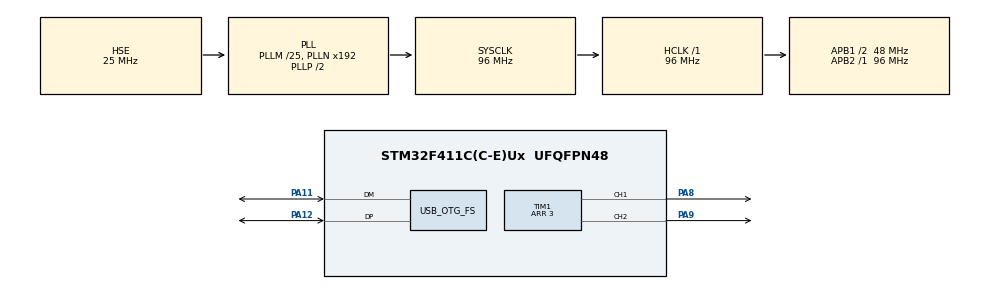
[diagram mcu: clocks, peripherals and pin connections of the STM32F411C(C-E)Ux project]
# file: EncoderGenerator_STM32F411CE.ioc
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FREERTOS.Tasks01=defaultTask,24,512,StartDefaultTask,Default,NULL,Dynamic,NULL,NULL
FREERTOS.configUSE_NEWLIB_REENTRANT=1
Mcu.Family=STM32F4
Mcu.Name=STM32F411C(C-E)Ux
Mcu.Package=UFQFPN48
NVIC.OTG_FS_IRQn=true\:5\:0\:false\:false\:true\:true\:false\:true\:true
NVIC.PriorityGroup=NVIC_PRIORITYGROUP_4
NVIC.TIM1_TRG_COM_TIM11_IRQn=true\:15\:0\:false\:false\:true\:false\:false\:true\:true
NVIC.TimeBase=TIM1_TRG_COM_TIM11_IRQn
NVIC.TimeBaseIP=TIM11
PA11.Mode=Device_Only
PA11.Signal=USB_OTG_FS_DM
PA12.Mode=Device_Only
PA12.Signal=USB_OTG_FS_DP
PA13.Mode=Serial_Wire
PA13.Signal=SYS_JTMS-SWDIO
PA14.Mode=Serial_Wire
PA14.Signal=SYS_JTCK-SWCLK
PA8.GPIO_Speed=GPIO_SPEED_FREQ_VERY_HIGH
PA8.Signal=S_TIM1_CH1
PA9.GPIO_Speed=GPIO_SPEED_FREQ_VERY_HIGH
PA9.Signal=S_TIM1_CH2
PH0\ -\ OSC_IN.Mode=HSE-External-Oscillator
PH0\ -\ OSC_IN.Signal=RCC_OSC_IN
PH1\ -\ OSC_OUT.Mode=HSE-External-Oscillator
PH1\ -\ OSC_OUT.Signal=RCC_OSC_OUT
ProjectManager.HeapSize=0x200
ProjectManager.StackSize=0x400
ProjectManager.TargetToolchain=STM32CubeIDE
RCC.48MHZClocksFreq_Value=48000000
RCC.AHBFreq_Value=96000000
RCC.APB1CLKDivider=RCC_HCLK_DIV2
RCC.APB1Freq_Value=48000000
RCC.APB1TimFreq_Value=96000000
RCC.APB2Freq_Value=96000000
RCC.APB2TimFreq_Value=96000000
RCC.CortexFreq_Value=96000000
RCC.HCLKFreq_Value=96000000
RCC.HSE_VALUE=25000000
RCC.HSI_VALUE=16000000
RCC.LSE_VALUE=32768
RCC.PLLM=25
RCC.RCC_TIM_PRescaler_Selection=RCC_TIMPRES_DESACTIVATED
RCC.SYSCLKFreq_VALUE=96000000
RCC.SYSCLKSource=RCC_SYSCLKSOURCE_PLLCLK
RCC.VCOOutputFreq_Value=192000000
SH.S_TIM1_CH1.0=TIM1_CH1,Output Compare1 CH1
SH.S_TIM1_CH2.0=TIM1_CH2,Output Compare2 CH2
TIM1.Channel-Output\ Compare1\ CH1=TIM_CHANNEL_1
TIM1.Channel-Output\ Compare2\ CH2=TIM_CHANNEL_2
TIM1.OCMode_1=TIM_OCMODE_TOGGLE
TIM1.OCMode_2=TIM_OCMODE_TOGGLE
TIM1.Period=3
TIM1.Pulse-Output\ Compare1\ CH1=1
TIM1.Pulse-Output\ Compare2\ CH2=3
TIM2.Prescaler=1
TIM2.TIM_MasterOutputTrigger=TIM_TRGO_ENABLE
TIM3.Period=1
TIM3.TIM_MasterOutputTrigger=TIM_TRGO_UPDATE
TIM5.TIM_MasterOutputTrigger=TIM_TRGO_UPDATE
USB_DEVICE.CLASS_NAME_FS=CDC
USB_DEVICE.VirtualMode=Cdc
USB_DEVICE.VirtualModeFS=Cdc_FS
USB_OTG_FS.VirtualMode=Device_Only
VP_FREERTOS_VS_CMSIS_V2.Mode=CMSIS_V2
VP_SYS_VS_tim11.Mode=TIM11
VP_TIM1_VS_ClockSourceITR.Mode=TriggerSource_ITR2
VP_TIM1_VS_ControllerModeClock.Mode=Clock Mode
VP_TIM2_VS_ClockSourceITR.Mode=TriggerSource_ITR2
VP_TIM2_VS_ControllerModeClock.Mode=Clock Mode
VP_TIM2_VS_OPM.Mode=OPM_bit
VP_TIM3_VS_ClockSourceITR.Mode=TriggerSource_ITR2
VP_TIM3_VS_ControllerModeClock.Mode=Clock Mode
VP_TIM5_VS_ClockSourceINT.Mode=Internal
VP_TIM5_VS_ClockSourceITR.Mode=TriggerSource_ITR0
VP_TIM5_VS_ControllerModeGated.Mode=Gated Mode
VP_USB_DEVICE_VS_USB_DEVICE_CDC_FS.Mode=CDC_FS
board=custom

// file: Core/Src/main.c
/* USER CODE BEGIN Header */
/**
  ******************************************************************************
  * @file           : main.c
  * @brief          : Main program body
  ******************************************************************************
  * @attention
  *
  * Copyright (c) 2023 STMicroelectronics.
  * All rights reserved.
  *
  * This software is licensed under terms that can be found in the LICENSE file
  * in the root directory of this software component.
  * If no LICENSE file comes with this software, it is provided AS-IS.
  *
  ******************************************************************************
  */
/* USER CODE END Header */
#include "main.h"
#include "cmsis_os.h"
#include "usb_device.h"

/* USER CODE BEGIN Includes */

#include "usbd_cdc_if.h"
#include <stdio.h>

/* USER CODE END Includes */

/* Definitions for defaultTask */
osThreadId_t defaultTaskHandle;
const osThreadAttr_t defaultTask_attributes = {
  .name = "defaultTask",
  .stack_size = 512 * 4,
  .priority = (osPriority_t) osPriorityNormal,
};

void SystemClock_Config(void);
static void MX_GPIO_Init(void);
static void MX_TIM1_Init(void);
static void MX_TIM2_Init(void);
static void MX_TIM3_Init(void);
static void MX_TIM5_Init(void);
void StartDefaultTask(void *argument);

/* USER CODE BEGIN 0 */

#define FD_STDIN 0
#define FD_STDOUT 1
#define FD_STDERR 2
#define FD_USB 3

extern int __io_putchar(int ch) __attribute__((weak));
extern int __io_getchar(void) __attribute__((weak));

int __io_putchar(int ch) {
	// Write character to ITM ch.0
	ITM_SendChar(ch);
	return(ch);
}

int _write(int file, char *ptr, int len) {
	switch (file) {
	case FD_STDERR:
	case FD_STDOUT:
	case FD_USB: {
		for (uint8_t rc = USBD_BUSY; rc != USBD_OK; osThreadYield()) {
			rc = CDC_Transmit_FS((uint8_t*)ptr, len);
			if (rc == USBD_FAIL) {
//				Error_Handler();
				return -2;
			}
		}
	} break;
	default:
		return -1;
	}
    return len;
}

int _read(int file, char *ptr, int len) {
	int DataIdx = 0;
	switch (file) {
	case FD_STDIN:
	case FD_USB: {
		for (; DataIdx < len; DataIdx++) {
			int c;
			while ((c = CDC_read_byte()) < 0) {
				if (!DataIdx)
					osThreadYield();
				else
					return DataIdx;
			}
			*ptr++ = c;
		}
	} break;
	default:
		return -1;
	}

	return DataIdx;
}

int _open(char *path, int flags, ...) {
	if (strcmp(path, "USB") == 0) {
		return FD_USB;
	}
	return -1;
}

/* USER CODE END 0 */

int main(void)
{

  /* MCU Configuration--------------------------------------------------------*/

  /* Reset of all peripherals, Initializes the Flash interface and the Systick. */
  HAL_Init();

  /* Configure the system clock */
  SystemClock_Config();

  /* Initialize all configured peripherals */
  MX_GPIO_Init();
  MX_TIM1_Init();
  MX_TIM2_Init();
  MX_TIM3_Init();
  MX_TIM5_Init();

  /* Init scheduler */
  osKernelInitialize();

  /* Create the thread(s) */
  /* creation of defaultTask */
  defaultTaskHandle = osThreadNew(StartDefaultTask, NULL, &defaultTask_attributes);

  /* Start scheduler */
  osKernelStart();

  /* We should never get here as control is now taken by the scheduler */
  /* Infinite loop */
  while (1)
  {

  }
}

void SystemClock_Config(void)
{
  RCC_OscInitTypeDef RCC_OscInitStruct = {0};
  RCC_ClkInitTypeDef RCC_ClkInitStruct = {0};

  /** Configure the main internal regulator output voltage
  */
  __HAL_RCC_PWR_CLK_ENABLE();
  __HAL_PWR_VOLTAGESCALING_CONFIG(PWR_REGULATOR_VOLTAGE_SCALE1);

  /** Initializes the RCC Oscillators according to the specified parameters
  * in the RCC_OscInitTypeDef structure.
  */
  RCC_OscInitStruct.OscillatorType = RCC_OSCILLATORTYPE_HSE;
  RCC_OscInitStruct.HSEState = RCC_HSE_ON;
  RCC_OscInitStruct.PLL.PLLState = RCC_PLL_ON;
  RCC_OscInitStruct.PLL.PLLSource = RCC_PLLSOURCE_HSE;
  RCC_OscInitStruct.PLL.PLLM = 25;
  RCC_OscInitStruct.PLL.PLLN = 192;
  RCC_OscInitStruct.PLL.PLLP = RCC_PLLP_DIV2;
  RCC_OscInitStruct.PLL.PLLQ = 4;
  if (HAL_RCC_OscConfig(&RCC_OscInitStruct) != HAL_OK)
  {
    Error_Handler();
  }

  /** Initializes the CPU, AHB and APB buses clocks
  */
  RCC_ClkInitStruct.ClockType = RCC_CLOCKTYPE_HCLK|RCC_CLOCKTYPE_SYSCLK
                              |RCC_CLOCKTYPE_PCLK1|RCC_CLOCKTYPE_PCLK2;
  RCC_ClkInitStruct.SYSCLKSource = RCC_SYSCLKSOURCE_PLLCLK;
  RCC_ClkInitStruct.AHBCLKDivider = RCC_SYSCLK_DIV1;
  RCC_ClkInitStruct.APB1CLKDivider = RCC_HCLK_DIV2;
  RCC_ClkInitStruct.APB2CLKDivider = RCC_HCLK_DIV1;

  if (HAL_RCC_ClockConfig(&RCC_ClkInitStruct, FLASH_LATENCY_3) != HAL_OK)
  {
    Error_Handler();
  }
}

static void MX_TIM1_Init(void)
{

  LL_TIM_InitTypeDef TIM_InitStruct = {0};
  LL_TIM_OC_InitTypeDef TIM_OC_InitStruct = {0};
  LL_TIM_BDTR_InitTypeDef TIM_BDTRInitStruct = {0};

  LL_GPIO_InitTypeDef GPIO_InitStruct = {0};

  /* Peripheral clock enable */
  LL_APB2_GRP1_EnableClock(LL_APB2_GRP1_PERIPH_TIM1);

  /* TIM1 interrupt Init */
  NVIC_SetPriority(TIM1_TRG_COM_TIM11_IRQn, NVIC_EncodePriority(NVIC_GetPriorityGrouping(),15, 0));
  NVIC_EnableIRQ(TIM1_TRG_COM_TIM11_IRQn);

  TIM_InitStruct.Prescaler = 0;
  TIM_InitStruct.CounterMode = LL_TIM_COUNTERMODE_UP;
  TIM_InitStruct.Autoreload = 3;
  TIM_InitStruct.ClockDivision = LL_TIM_CLOCKDIVISION_DIV1;
  TIM_InitStruct.RepetitionCounter = 0;
  LL_TIM_Init(TIM1, &TIM_InitStruct);
  LL_TIM_DisableARRPreload(TIM1);
  TIM_OC_InitStruct.OCMode = LL_TIM_OCMODE_TOGGLE;
  TIM_OC_InitStruct.OCState = LL_TIM_OCSTATE_DISABLE;
  TIM_OC_InitStruct.OCNState = LL_TIM_OCSTATE_DISABLE;
  TIM_OC_InitStruct.CompareValue = 1;
  TIM_OC_InitStruct.OCPolarity = LL_TIM_OCPOLARITY_HIGH;
  TIM_OC_InitStruct.OCNPolarity = LL_TIM_OCPOLARITY_HIGH;
  TIM_OC_InitStruct.OCIdleState = LL_TIM_OCIDLESTATE_LOW;
  TIM_OC_InitStruct.OCNIdleState = LL_TIM_OCIDLESTATE_LOW;
  LL_TIM_OC_Init(TIM1, LL_TIM_CHANNEL_CH1, &TIM_OC_InitStruct);
  LL_TIM_OC_DisableFast(TIM1, LL_TIM_CHANNEL_CH1);
  TIM_OC_InitStruct.CompareValue = 3;
  LL_TIM_OC_Init(TIM1, LL_TIM_CHANNEL_CH2, &TIM_OC_InitStruct);
  LL_TIM_OC_DisableFast(TIM1, LL_TIM_CHANNEL_CH2);
  LL_TIM_SetTriggerInput(TIM1, LL_TIM_TS_ITR2);
  LL_TIM_SetClockSource(TIM1, LL_TIM_CLOCKSOURCE_EXT_MODE1);
  LL_TIM_DisableIT_TRIG(TIM1);
  LL_TIM_DisableDMAReq_TRIG(TIM1);
  LL_TIM_SetTriggerOutput(TIM1, LL_TIM_TRGO_RESET);
  LL_TIM_DisableMasterSlaveMode(TIM1);
  TIM_BDTRInitStruct.OSSRState = LL_TIM_OSSR_DISABLE;
  TIM_BDTRInitStruct.OSSIState = LL_TIM_OSSI_DISABLE;
  TIM_BDTRInitStruct.LockLevel = LL_TIM_LOCKLEVEL_OFF;
  TIM_BDTRInitStruct.DeadTime = 0;
  TIM_BDTRInitStruct.BreakState = LL_TIM_BREAK_DISABLE;
  TIM_BDTRInitStruct.BreakPolarity = LL_TIM_BREAK_POLARITY_HIGH;
  TIM_BDTRInitStruct.AutomaticOutput = LL_TIM_AUTOMATICOUTPUT_DISABLE;
  LL_TIM_BDTR_Init(TIM1, &TIM_BDTRInitStruct);
  LL_AHB1_GRP1_EnableClock(LL_AHB1_GRP1_PERIPH_GPIOA);
  /**TIM1 GPIO Configuration
  PA8   ------> TIM1_CH1
  PA9   ------> TIM1_CH2
  */
  GPIO_InitStruct.Pin = LL_GPIO_PIN_8|LL_GPIO_PIN_9;
  GPIO_InitStruct.Mode = LL_GPIO_MODE_ALTERNATE;
  GPIO_InitStruct.Speed = LL_GPIO_SPEED_FREQ_VERY_HIGH;
  GPIO_InitStruct.OutputType = LL_GPIO_OUTPUT_PUSHPULL;
  GPIO_InitStruct.Pull = LL_GPIO_PULL_NO;
  GPIO_InitStruct.Alternate = LL_GPIO_AF_1;
  LL_GPIO_Init(GPIOA, &GPIO_InitStruct);

}

static void MX_TIM2_Init(void)
{

  LL_TIM_InitTypeDef TIM_InitStruct = {0};

  /* Peripheral clock enable */
  LL_APB1_GRP1_EnableClock(LL_APB1_GRP1_PERIPH_TIM2);

  TIM_InitStruct.Prescaler = 1;
  TIM_InitStruct.CounterMode = LL_TIM_COUNTERMODE_UP;
  TIM_InitStruct.Autoreload = 4294967295;
  TIM_InitStruct.ClockDivision = LL_TIM_CLOCKDIVISION_DIV1;
  LL_TIM_Init(TIM2, &TIM_InitStruct);
  LL_TIM_DisableARRPreload(TIM2);
  LL_TIM_SetOnePulseMode(TIM2, LL_TIM_ONEPULSEMODE_SINGLE);
  LL_TIM_SetTriggerInput(TIM2, LL_TIM_TS_ITR2);
  LL_TIM_SetClockSource(TIM2, LL_TIM_CLOCKSOURCE_EXT_MODE1);
  LL_TIM_DisableIT_TRIG(TIM2);
  LL_TIM_DisableDMAReq_TRIG(TIM2);
  LL_TIM_SetTriggerOutput(TIM2, LL_TIM_TRGO_ENABLE);
  LL_TIM_DisableMasterSlaveMode(TIM2);

}

static void MX_TIM3_Init(void)
{

  LL_TIM_InitTypeDef TIM_InitStruct = {0};

  /* Peripheral clock enable */
  LL_APB1_GRP1_EnableClock(LL_APB1_GRP1_PERIPH_TIM3);

  TIM_InitStruct.Prescaler = 0;
  TIM_InitStruct.CounterMode = LL_TIM_COUNTERMODE_UP;
  TIM_InitStruct.Autoreload = 1;
  TIM_InitStruct.ClockDivision = LL_TIM_CLOCKDIVISION_DIV1;
  LL_TIM_Init(TIM3, &TIM_InitStruct);
  LL_TIM_DisableARRPreload(TIM3);
  LL_TIM_SetTriggerInput(TIM3, LL_TIM_TS_ITR2);
  LL_TIM_SetClockSource(TIM3, LL_TIM_CLOCKSOURCE_EXT_MODE1);
  LL_TIM_DisableIT_TRIG(TIM3);
  LL_TIM_DisableDMAReq_TRIG(TIM3);
  LL_TIM_SetTriggerOutput(TIM3, LL_TIM_TRGO_UPDATE);
  LL_TIM_DisableMasterSlaveMode(TIM3);

}

static void MX_TIM5_Init(void)
{

  LL_TIM_InitTypeDef TIM_InitStruct = {0};

  /* Peripheral clock enable */
  LL_APB1_GRP1_EnableClock(LL_APB1_GRP1_PERIPH_TIM5);

  TIM_InitStruct.Prescaler = 0;
  TIM_InitStruct.CounterMode = LL_TIM_COUNTERMODE_UP;
  TIM_InitStruct.Autoreload = 4294967295;
  TIM_InitStruct.ClockDivision = LL_TIM_CLOCKDIVISION_DIV1;
  LL_TIM_Init(TIM5, &TIM_InitStruct);
  LL_TIM_DisableARRPreload(TIM5);
  LL_TIM_SetClockSource(TIM5, LL_TIM_CLOCKSOURCE_INTERNAL);
  LL_TIM_SetTriggerInput(TIM5, LL_TIM_TS_ITR0);
  LL_TIM_SetSlaveMode(TIM5, LL_TIM_SLAVEMODE_GATED);
  LL_TIM_DisableIT_TRIG(TIM5);
  LL_TIM_DisableDMAReq_TRIG(TIM5);
  LL_TIM_SetTriggerOutput(TIM5, LL_TIM_TRGO_UPDATE);
  LL_TIM_DisableMasterSlaveMode(TIM5);

}

static void MX_GPIO_Init(void)
{

  /* GPIO Ports Clock Enable */
  __HAL_RCC_GPIOH_CLK_ENABLE();
  __HAL_RCC_GPIOA_CLK_ENABLE();

}

/* USER CODE BEGIN 4 */

void encoder_out(uint32_t outFreq, uint32_t outTicks, uint8_t direction) {
	uint32_t timerFreq = HAL_RCC_GetHCLKFreq() / 4;
	LL_TIM_SetAutoReload(TIM5, __LL_TIM_CALC_PSC(timerFreq, outFreq));
	LL_TIM_GenerateEvent_UPDATE(TIM5);

	LL_TIM_GenerateEvent_UPDATE(TIM3);

	LL_TIM_SetAutoReload(TIM2, outTicks - 1);
	LL_TIM_GenerateEvent_UPDATE(TIM2);

	LL_TIM_EnableAllOutputs(TIM1);
	LL_TIM_CC_EnableChannel(TIM1, LL_TIM_CHANNEL_CH1 | LL_TIM_CHANNEL_CH2);
	LL_TIM_SetCounterMode(TIM1, direction ? LL_TIM_COUNTERMODE_DOWN : LL_TIM_COUNTERMODE_UP);

	LL_TIM_EnableCounter(TIM1);
	LL_TIM_EnableCounter(TIM2);
	LL_TIM_EnableCounter(TIM3);
	LL_TIM_EnableCounter(TIM5);

	while (LL_TIM_IsEnabledCounter(TIM2));

	LL_TIM_DisableCounter(TIM5);
	LL_TIM_DisableCounter(TIM3);
	LL_TIM_DisableCounter(TIM1);

}

/* USER CODE END 4 */

void StartDefaultTask(void *argument)
{
  /* init code for USB_DEVICE */
  MX_USB_DEVICE_Init();
  /* USER CODE BEGIN 5 */
  setvbuf(stdin, NULL, _IONBF, 0);
  osDelay(100);
//  encoder_out(1000, 40);
//  osDelay(10);
//  encoder_out(10000, 40);
//  osDelay(10);
//  encoder_out(100000, 40);
//  osDelay(10);
//  encoder_out(1000000, 40);
//  osDelay(10);
//  encoder_out(12000000, 40);
//  osDelay(10);

  for(;;) {
	int outFreq, outTicks;
	scanf("%i,%i", &outFreq, &outTicks);
	if (outFreq == 0 || labs(outTicks) < 2) {
		puts("nok");
	} else {
		printf("encoder_out(%lu,%lu,%u) ", labs(outFreq), labs(outTicks), (outFreq < 0) ^ (outTicks < 0));
		encoder_out(labs(outFreq), labs(outTicks), (outFreq > 0) ^ (outTicks > 0));
		puts("ok");
	}

    osThreadYield();
  }
  /* USER CODE END 5 */
}

void HAL_TIM_PeriodElapsedCallback(TIM_HandleTypeDef *htim)
{
  if (htim->Instance == TIM11) {
    HAL_IncTick();
  }
}

void Error_Handler(void)
{
  __disable_irq();
  while (1)
  {
  }
}
